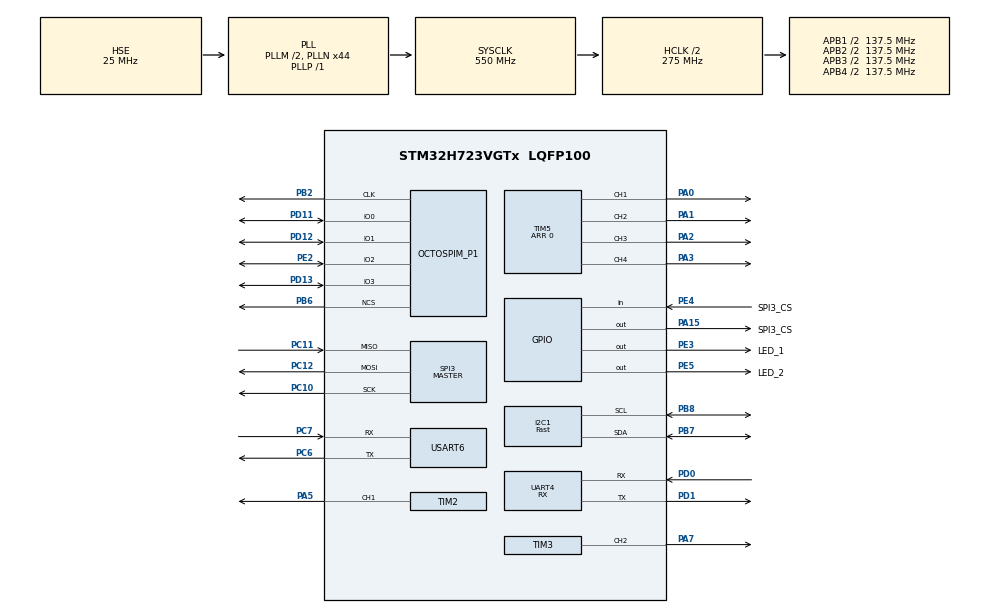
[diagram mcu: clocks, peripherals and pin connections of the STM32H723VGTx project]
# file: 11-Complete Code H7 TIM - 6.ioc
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CORTEX_M7.default_mode_Activation=1
Dma.I2C1_RX.7.Direction=DMA_PERIPH_TO_MEMORY
Dma.I2C1_RX.7.EventEnable=DISABLE
Dma.I2C1_RX.7.FIFOMode=DMA_FIFOMODE_DISABLE
Dma.I2C1_RX.7.Instance=DMA1_Stream7
Dma.I2C1_RX.7.MemDataAlignment=DMA_MDATAALIGN_BYTE
Dma.I2C1_RX.7.MemInc=DMA_MINC_ENABLE
Dma.I2C1_RX.7.Mode=DMA_NORMAL
Dma.I2C1_RX.7.PeriphDataAlignment=DMA_PDATAALIGN_BYTE
Dma.I2C1_RX.7.PeriphInc=DMA_PINC_DISABLE
Dma.I2C1_RX.7.Polarity=HAL_DMAMUX_REQ_GEN_RISING
Dma.I2C1_RX.7.Priority=DMA_PRIORITY_LOW
Dma.I2C1_RX.7.RequestNumber=1
Dma.I2C1_RX.7.SignalID=NONE
Dma.I2C1_RX.7.SyncEnable=DISABLE
Dma.I2C1_RX.7.SyncPolarity=HAL_DMAMUX_SYNC_NO_EVENT
Dma.I2C1_RX.7.SyncRequestNumber=1
Dma.I2C1_RX.7.SyncSignalID=NONE
Dma.I2C1_TX.8.Direction=DMA_MEMORY_TO_PERIPH
Dma.I2C1_TX.8.EventEnable=DISABLE
Dma.I2C1_TX.8.FIFOMode=DMA_FIFOMODE_DISABLE
Dma.I2C1_TX.8.Instance=DMA2_Stream0
Dma.I2C1_TX.8.MemDataAlignment=DMA_MDATAALIGN_BYTE
Dma.I2C1_TX.8.MemInc=DMA_MINC_ENABLE
Dma.I2C1_TX.8.Mode=DMA_NORMAL
Dma.I2C1_TX.8.PeriphDataAlignment=DMA_PDATAALIGN_BYTE
Dma.I2C1_TX.8.PeriphInc=DMA_PINC_DISABLE
Dma.I2C1_TX.8.Polarity=HAL_DMAMUX_REQ_GEN_RISING
Dma.I2C1_TX.8.Priority=DMA_PRIORITY_LOW
Dma.I2C1_TX.8.RequestNumber=1
Dma.I2C1_TX.8.SignalID=NONE
Dma.I2C1_TX.8.SyncEnable=DISABLE
Dma.I2C1_TX.8.SyncPolarity=HAL_DMAMUX_SYNC_NO_EVENT
Dma.I2C1_TX.8.SyncRequestNumber=1
Dma.I2C1_TX.8.SyncSignalID=NONE
Dma.Request0=TIM5_CH1
Dma.Request1=TIM5_CH2
Dma.Request2=TIM5_CH3
Dma.Request3=TIM5_CH4
Dma.Request4=SPI3_RX
Dma.Request5=SPI3_TX
Dma.Request6=TIM3_CH2
Dma.Request7=I2C1_RX
Dma.Request8=I2C1_TX
Dma.SPI3_RX.4.Direction=DMA_PERIPH_TO_MEMORY
Dma.SPI3_RX.4.EventEnable=DISABLE
Dma.SPI3_RX.4.FIFOMode=DMA_FIFOMODE_DISABLE
Dma.SPI3_RX.4.Instance=DMA1_Stream4
Dma.SPI3_RX.4.MemDataAlignment=DMA_MDATAALIGN_BYTE
Dma.SPI3_RX.4.MemInc=DMA_MINC_ENABLE
Dma.SPI3_RX.4.Mode=DMA_NORMAL
Dma.SPI3_RX.4.PeriphDataAlignment=DMA_PDATAALIGN_BYTE
Dma.SPI3_RX.4.PeriphInc=DMA_PINC_DISABLE
Dma.SPI3_RX.4.Polarity=HAL_DMAMUX_REQ_GEN_RISING
Dma.SPI3_RX.4.Priority=DMA_PRIORITY_LOW
Dma.SPI3_RX.4.RequestNumber=1
Dma.SPI3_RX.4.SignalID=NONE
Dma.SPI3_RX.4.SyncEnable=DISABLE
Dma.SPI3_RX.4.SyncPolarity=HAL_DMAMUX_SYNC_NO_EVENT
Dma.SPI3_RX.4.SyncRequestNumber=1
Dma.SPI3_RX.4.SyncSignalID=NONE
Dma.SPI3_TX.5.Direction=DMA_MEMORY_TO_PERIPH
Dma.SPI3_TX.5.EventEnable=DISABLE
Dma.SPI3_TX.5.FIFOMode=DMA_FIFOMODE_DISABLE
Dma.SPI3_TX.5.Instance=DMA1_Stream3
Dma.SPI3_TX.5.MemDataAlignment=DMA_MDATAALIGN_BYTE
Dma.SPI3_TX.5.MemInc=DMA_MINC_ENABLE
Dma.SPI3_TX.5.Mode=DMA_NORMAL
Dma.SPI3_TX.5.PeriphDataAlignment=DMA_PDATAALIGN_BYTE
Dma.SPI3_TX.5.PeriphInc=DMA_PINC_DISABLE
Dma.SPI3_TX.5.Polarity=HAL_DMAMUX_REQ_GEN_RISING
Dma.SPI3_TX.5.Priority=DMA_PRIORITY_LOW
Dma.SPI3_TX.5.RequestNumber=1
Dma.SPI3_TX.5.SignalID=NONE
Dma.SPI3_TX.5.SyncEnable=DISABLE
Dma.SPI3_TX.5.SyncPolarity=HAL_DMAMUX_SYNC_NO_EVENT
Dma.SPI3_TX.5.SyncRequestNumber=1
Dma.SPI3_TX.5.SyncSignalID=NONE
Dma.TIM3_CH2.6.Direction=DMA_MEMORY_TO_PERIPH
Dma.TIM3_CH2.6.EventEnable=DISABLE
Dma.TIM3_CH2.6.FIFOMode=DMA_FIFOMODE_DISABLE
Dma.TIM3_CH2.6.Instance=DMA1_Stream6
Dma.TIM3_CH2.6.MemDataAlignment=DMA_MDATAALIGN_WORD
Dma.TIM3_CH2.6.MemInc=DMA_MINC_ENABLE
Dma.TIM3_CH2.6.Mode=DMA_NORMAL
Dma.TIM3_CH2.6.PeriphDataAlignment=DMA_PDATAALIGN_WORD
Dma.TIM3_CH2.6.PeriphInc=DMA_PINC_DISABLE
Dma.TIM3_CH2.6.Polarity=HAL_DMAMUX_REQ_GEN_RISING
Dma.TIM3_CH2.6.Priority=DMA_PRIORITY_LOW
Dma.TIM3_CH2.6.RequestNumber=1
Dma.TIM3_CH2.6.SignalID=NONE
Dma.TIM3_CH2.6.SyncEnable=DISABLE
Dma.TIM3_CH2.6.SyncPolarity=HAL_DMAMUX_SYNC_NO_EVENT
Dma.TIM3_CH2.6.SyncRequestNumber=1
Dma.TIM3_CH2.6.SyncSignalID=NONE
Dma.TIM5_CH1.0.Direction=DMA_MEMORY_TO_PERIPH
Dma.TIM5_CH1.0.EventEnable=DISABLE
Dma.TIM5_CH1.0.FIFOMode=DMA_FIFOMODE_ENABLE
Dma.TIM5_CH1.0.FIFOThreshold=DMA_FIFO_THRESHOLD_1QUARTERFULL
Dma.TIM5_CH1.0.Instance=DMA1_Stream0
Dma.TIM5_CH1.0.MemBurst=DMA_MBURST_SINGLE
Dma.TIM5_CH1.0.MemDataAlignment=DMA_MDATAALIGN_WORD
Dma.TIM5_CH1.0.MemInc=DMA_MINC_ENABLE
Dma.TIM5_CH1.0.Mode=DMA_NORMAL
Dma.TIM5_CH1.0.PeriphBurst=DMA_PBURST_SINGLE
Dma.TIM5_CH1.0.PeriphDataAlignment=DMA_PDATAALIGN_WORD
Dma.TIM5_CH1.0.PeriphInc=DMA_PINC_DISABLE
Dma.TIM5_CH1.0.Polarity=HAL_DMAMUX_REQ_GEN_RISING
Dma.TIM5_CH1.0.Priority=DMA_PRIORITY_HIGH
Dma.TIM5_CH1.0.RequestNumber=1
Dma.TIM5_CH1.0.SignalID=NONE
Dma.TIM5_CH1.0.SyncEnable=DISABLE
Dma.TIM5_CH1.0.SyncPolarity=HAL_DMAMUX_SYNC_NO_EVENT
Dma.TIM5_CH1.0.SyncRequestNumber=1
Dma.TIM5_CH1.0.SyncSignalID=NONE
Dma.TIM5_CH2.1.Direction=DMA_MEMORY_TO_PERIPH
Dma.TIM5_CH2.1.EventEnable=DISABLE
Dma.TIM5_CH2.1.FIFOMode=DMA_FIFOMODE_ENABLE
Dma.TIM5_CH2.1.FIFOThreshold=DMA_FIFO_THRESHOLD_1QUARTERFULL
Dma.TIM5_CH2.1.Instance=DMA1_Stream1
Dma.TIM5_CH2.1.MemBurst=DMA_MBURST_SINGLE
Dma.TIM5_CH2.1.MemDataAlignment=DMA_MDATAALIGN_WORD
Dma.TIM5_CH2.1.MemInc=DMA_MINC_ENABLE
Dma.TIM5_CH2.1.Mode=DMA_NORMAL
Dma.TIM5_CH2.1.PeriphBurst=DMA_PBURST_SINGLE
Dma.TIM5_CH2.1.PeriphDataAlignment=DMA_PDATAALIGN_WORD
Dma.TIM5_CH2.1.PeriphInc=DMA_PINC_DISABLE
Dma.TIM5_CH2.1.Polarity=HAL_DMAMUX_REQ_GEN_RISING
Dma.TIM5_CH2.1.Priority=DMA_PRIORITY_HIGH
Dma.TIM5_CH2.1.RequestNumber=1
Dma.TIM5_CH2.1.SignalID=NONE
Dma.TIM5_CH2.1.SyncEnable=DISABLE
Dma.TIM5_CH2.1.SyncPolarity=HAL_DMAMUX_SYNC_NO_EVENT
Dma.TIM5_CH2.1.SyncRequestNumber=1
Dma.TIM5_CH2.1.SyncSignalID=NONE
Dma.TIM5_CH3.2.Direction=DMA_MEMORY_TO_PERIPH
Dma.TIM5_CH3.2.EventEnable=DISABLE
Dma.TIM5_CH3.2.FIFOMode=DMA_FIFOMODE_ENABLE
Dma.TIM5_CH3.2.FIFOThreshold=DMA_FIFO_THRESHOLD_1QUARTERFULL
Dma.TIM5_CH3.2.Instance=DMA1_Stream2
Dma.TIM5_CH3.2.MemBurst=DMA_MBURST_SINGLE
Dma.TIM5_CH3.2.MemDataAlignment=DMA_MDATAALIGN_WORD
Dma.TIM5_CH3.2.MemInc=DMA_MINC_ENABLE
Dma.TIM5_CH3.2.Mode=DMA_NORMAL
Dma.TIM5_CH3.2.PeriphBurst=DMA_PBURST_SINGLE
Dma.TIM5_CH3.2.PeriphDataAlignment=DMA_PDATAALIGN_WORD
Dma.TIM5_CH3.2.PeriphInc=DMA_PINC_DISABLE
Dma.TIM5_CH3.2.Polarity=HAL_DMAMUX_REQ_GEN_RISING
Dma.TIM5_CH3.2.Priority=DMA_PRIORITY_HIGH
Dma.TIM5_CH3.2.RequestNumber=1
Dma.TIM5_CH3.2.SignalID=NONE
Dma.TIM5_CH3.2.SyncEnable=DISABLE
Dma.TIM5_CH3.2.SyncPolarity=HAL_DMAMUX_SYNC_NO_EVENT
Dma.TIM5_CH3.2.SyncRequestNumber=1
Dma.TIM5_CH3.2.SyncSignalID=NONE
Dma.TIM5_CH4.3.Direction=DMA_MEMORY_TO_PERIPH
Dma.TIM5_CH4.3.EventEnable=DISABLE
Dma.TIM5_CH4.3.FIFOMode=DMA_FIFOMODE_ENABLE
Dma.TIM5_CH4.3.FIFOThreshold=DMA_FIFO_THRESHOLD_1QUARTERFULL
Dma.TIM5_CH4.3.Instance=DMA1_Stream5
Dma.TIM5_CH4.3.MemBurst=DMA_MBURST_SINGLE
Dma.TIM5_CH4.3.MemDataAlignment=DMA_MDATAALIGN_WORD
Dma.TIM5_CH4.3.MemInc=DMA_MINC_ENABLE
Dma.TIM5_CH4.3.Mode=DMA_NORMAL
Dma.TIM5_CH4.3.PeriphBurst=DMA_PBURST_SINGLE
Dma.TIM5_CH4.3.PeriphDataAlignment=DMA_PDATAALIGN_WORD
Dma.TIM5_CH4.3.PeriphInc=DMA_PINC_DISABLE
Dma.TIM5_CH4.3.Polarity=HAL_DMAMUX_REQ_GEN_RISING
Dma.TIM5_CH4.3.Priority=DMA_PRIORITY_HIGH
Dma.TIM5_CH4.3.RequestNumber=1
Dma.TIM5_CH4.3.SignalID=NONE
Dma.TIM5_CH4.3.SyncEnable=DISABLE
Dma.TIM5_CH4.3.SyncPolarity=HAL_DMAMUX_SYNC_NO_EVENT
Dma.TIM5_CH4.3.SyncRequestNumber=1
Dma.TIM5_CH4.3.SyncSignalID=NONE
I2C1.I2C_Speed_Mode=I2C_Fast
I2C1.Timing=0x00D049FB
Mcu.Family=STM32H7
Mcu.Name=STM32H723VGTx
Mcu.Package=LQFP100
NVIC.DMA1_Stream0_IRQn=true\:0\:0\:false\:false\:true\:false\:true\:true
NVIC.DMA1_Stream1_IRQn=true\:0\:0\:false\:false\:true\:false\:true\:true
NVIC.DMA1_Stream2_IRQn=true\:0\:0\:false\:false\:true\:false\:true\:true
NVIC.DMA1_Stream3_IRQn=true\:0\:0\:false\:false\:true\:false\:true\:true
NVIC.DMA1_Stream4_IRQn=true\:0\:0\:false\:false\:true\:false\:true\:true
NVIC.DMA1_Stream5_IRQn=true\:0\:0\:false\:false\:true\:false\:true\:true
NVIC.DMA1_Stream6_IRQn=true\:0\:0\:false\:false\:true\:false\:true\:true
NVIC.DMA1_Stream7_IRQn=true\:0\:0\:false\:false\:true\:false\:true\:true
NVIC.DMA2_Stream0_IRQn=true\:0\:0\:false\:false\:true\:false\:true\:true
NVIC.PriorityGroup=NVIC_PRIORITYGROUP_4
NVIC.SPI3_IRQn=true\:0\:0\:false\:false\:true\:false\:true\:true
NVIC.TIM5_IRQn=true\:0\:0\:false\:false\:true\:true\:true\:true
NVIC.TIM7_IRQn=true\:0\:0\:false\:false\:true\:true\:true\:true
NVIC.UART4_IRQn=true\:0\:0\:false\:false\:true\:true\:true\:true
NVIC.USART6_IRQn=true\:0\:0\:false\:false\:true\:true\:true\:true
OCTOSPI1.ChipSelectHighTime=2
OCTOSPI1.ClockMode=HAL_OSPI_CLOCK_MODE_3
OCTOSPI1.ClockPrescaler=3-1
OCTOSPI1.DeviceSize=23
OCTOSPI1.SampleShifting=HAL_OSPI_SAMPLE_SHIFTING_HALFCYCLE
PA0.Signal=S_TIM5_CH1
PA1.Signal=S_TIM5_CH2
PA15(JTDI).GPIO_Label=SPI3_CS
PA15(JTDI).Signal=GPIO_Output
PA2.Signal=S_TIM5_CH3
PA3.Signal=S_TIM5_CH4
PA5.Signal=S_TIM2_CH1_ETR
PA7.Signal=S_TIM3_CH2
PB2.Mode=O1_P1_CLK
PB2.Signal=OCTOSPIM_P1_CLK
PB6.Mode=OCTOSPI1_Port1_NCS
PB6.Signal=OCTOSPIM_P1_NCS
PB7.Mode=I2C
PB7.Signal=I2C1_SDA
PB8.Mode=I2C
PB8.Signal=I2C1_SCL
PC10.Mode=Full_Duplex_Master
PC10.Signal=SPI3_SCK
PC11.Mode=Full_Duplex_Master
PC11.Signal=SPI3_MISO
PC12.Mode=Full_Duplex_Master
PC12.Signal=SPI3_MOSI
PC6.Mode=Asynchronous
PC6.Signal=USART6_TX
PC7.Mode=Asynchronous
PC7.Signal=USART6_RX
PD0.Mode=Asynchronous
PD0.Signal=UART4_RX
PD1.Mode=Asynchronous
PD1.Signal=UART4_TX
PD11.Mode=OCTOSPI1_IOL_Port1L
PD11.Signal=OCTOSPIM_P1_IO0
PD12.Mode=OCTOSPI1_IOL_Port1L
PD12.Signal=OCTOSPIM_P1_IO1
PD13.Mode=OCTOSPI1_IOL_Port1L
PD13.Signal=OCTOSPIM_P1_IO3
PE2.Mode=OCTOSPI1_IOL_Port1L
PE2.Signal=OCTOSPIM_P1_IO2
PE3.GPIO_Label=LED_1
PE3.Signal=GPIO_Output
PE4.GPIO_Label=SPI3_CS
PE4.Signal=GPIO_Input
PE5.GPIO_Label=LED_2
PE5.Signal=GPIO_Output
PH0-OSC_IN.Mode=HSE-External-Oscillator
PH0-OSC_IN.Signal=RCC_OSC_IN
PH1-OSC_OUT.Mode=HSE-External-Oscillator
PH1-OSC_OUT.Signal=RCC_OSC_OUT
ProjectManager.HeapSize=0x200
ProjectManager.StackSize=0x400
ProjectManager.TargetToolchain=STM32CubeIDE
RCC.ADCFreq_Value=50390625
RCC.APB1Freq_Value=137500000
RCC.APB2Freq_Value=137500000
RCC.APB3Freq_Value=137500000
RCC.APB4Freq_Value=137500000
RCC.CortexFreq_Value=550000000
RCC.D1PPRE=RCC_APB3_DIV2
RCC.D2PPRE1=RCC_APB1_DIV2
RCC.D2PPRE2=RCC_APB2_DIV2
RCC.D3PPRE=RCC_APB4_DIV2
RCC.DIVM1=2
RCC.DIVN1=44
RCC.DIVP1=1
RCC.DIVQ1=3
RCC.HCLKFreq_Value=275000000
RCC.HPRE=RCC_HCLK_DIV2
RCC.PLL2FRACN=0
RCC.PLL3FRACN=0
RCC.PLLFRACN=0
RCC.PLLSourceVirtual=RCC_PLLSOURCE_HSE
RCC.SYSCLKFreq_VALUE=550000000
RCC.SYSCLKSource=RCC_SYSCLKSOURCE_PLLCLK
RCC.USBFreq_Value=183333333.33333334
SH.S_TIM2_CH1_ETR.0=TIM2_CH1,PWM Generation1 CH1
SH.S_TIM3_CH2.0=TIM3_CH2,PWM Generation2 CH2
SH.S_TIM5_CH1.0=TIM5_CH1,PWM Generation1 CH1
SH.S_TIM5_CH2.0=TIM5_CH2,PWM Generation2 CH2
SH.S_TIM5_CH3.0=TIM5_CH3,PWM Generation3 CH3
SH.S_TIM5_CH4.0=TIM5_CH4,PWM Generation4 CH4
SPI3.BaudRatePrescaler=SPI_BAUDRATEPRESCALER_8
SPI3.CLKPhase=SPI_PHASE_2EDGE
SPI3.CLKPolarity=SPI_POLARITY_HIGH
SPI3.CalculateBaudRate=22.916666 MBits/s
SPI3.DataSize=SPI_DATASIZE_8BIT
SPI3.Direction=SPI_DIRECTION_2LINES
SPI3.Mode=SPI_MODE_MASTER
SPI3.VirtualType=VM_MASTER
TIM2.Channel-PWM\ Generation1\ CH1=TIM_CHANNEL_1
TIM2.Period=249
TIM2.Prescaler=546
TIM2.Pulse-PWM\ Generation1\ CH1=125
TIM3.Channel-PWM\ Generation2\ CH2=TIM_CHANNEL_2
TIM3.Period=343
TIM5.Channel-PWM\ Generation1\ CH1=TIM_CHANNEL_1
TIM5.Channel-PWM\ Generation2\ CH2=TIM_CHANNEL_2
TIM5.Channel-PWM\ Generation3\ CH3=TIM_CHANNEL_3
TIM5.Channel-PWM\ Generation4\ CH4=TIM_CHANNEL_4
TIM5.Period=0
TIM7.AutoReloadPreload=TIM_AUTORELOAD_PRELOAD_ENABLE
TIM7.Period=274
TIM7.Prescaler=999
UART4.Mode=MODE_RX
USART6.VirtualMode=VM_ASYNC
VP_MEMORYMAP_VS_MEMORYMAP.Mode=CurAppReg
VP_OCTOSPI1_VS_octo.Mode=octo_mode
VP_TIM2_VS_ClockSourceINT.Mode=Internal
VP_TIM3_VS_ClockSourceINT.Mode=Internal
VP_TIM5_VS_ClockSourceINT.Mode=Internal
VP_TIM7_VS_ClockSourceINT.Mode=Enable_Timer
board=custom

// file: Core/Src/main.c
/* USER CODE BEGIN Header */
/**
  ******************************************************************************
  * @file           : main.c
  * @brief          : Main program body
  ******************************************************************************
  * @attention
  *
  * Copyright (c) 2025 STMicroelectronics.
  * All rights reserved.
  *
  * This software is licensed under terms that can be found in the LICENSE file
  * in the root directory of this software component.
  * If no LICENSE file comes with this software, it is provided AS-IS.
  *
  ******************************************************************************
  */
/* USER CODE END Header */
#include "main.h"
#include "dma.h"
#include "i2c.h"
#include "octospi.h"
#include "spi.h"
#include "tim.h"
#include "usart.h"
#include "gpio.h"

/* USER CODE BEGIN Includes */
#include "../IMU/ICM42688P/icm42688p.h"
#include "../EEPROM/eeprom.h"
#include "../RECEIVER/FS-iA6B/FS-iA6B.h"
#include "../LED/MAIN_BOARD_RGB/ws2812.h"
#include "../HMC5883L/hmc5883l.h"
#include "../FUSION/COMPLEMENTARY/complementary_filter.h"
#include "../ESC/DShot/dshot.h"
#include "../CMD/cmd.h"
#include <string.h>
#include <stdio.h>
/* USER CODE END Includes */

/* USER CODE BEGIN PTD */

/* *********** USART6 printf function code ************ */
int _write(int file, char* p, int len)
{
    for (int i = 0; i < len; i++) {
        while (!LL_USART_IsActiveFlag_TXE(USART6)) {
            if (LL_USART_IsActiveFlag_ORE(USART6) || LL_USART_IsActiveFlag_FE(USART6)) {
                LL_USART_ClearFlag_ORE(USART6);
                LL_USART_ClearFlag_FE(USART6);
                return -1; // Indicate error
            }
        }
        LL_USART_TransmitData8(USART6, *(p + i));
    }
    while (!LL_USART_IsActiveFlag_TC(USART6)) {}
    return len;
}
/* *********** USART6 printf function code ************ */

/* USER CODE END PTD */

/* USER CODE BEGIN PD */
#define MIN_THROTTLE 240   // Minimum DShot throttle (per protocol)
#define MAX_THROTTLE 2000 // Maximum DShot throttle (per protocol)

float dt = 1.0f/1000;
/* USER CODE END PD */

/* USER CODE BEGIN PM */
unsigned char failsafe_flag = 0;
unsigned char motor_armed = 0; // Track arming state
/* USER CODE END PM */

/* USER CODE BEGIN PV */

extern uint8_t uart6_rx_flag;
extern uint8_t uart6_rx_data;
extern uint8_t uart4_rx_flag;
extern uint8_t uart4_rx_data;
extern uint8_t ibus_rx_buf[32];
extern uint8_t ibus_rx_cplt_flag;
extern uint8_t uart7_rx_data;
uint8_t telemetry_tx_buf[20];

extern uint16_t tim7_1ms_flag;
extern uint16_t tim7_2ms_flag;
extern uint16_t tim7_20ms_flag;
extern uint16_t tim7_50ms_flag;
extern uint16_t tim7_100ms_flag;
extern uint16_t tim7_200ms_flag;
extern uint16_t tim7_1000ms_flag;

float eeprom_pid_read[3];
float eeprom_gyro_read[3];
float eeprom_accel_read[3];
float eeprom_mag_read[3];
DualPID_t eeprom_roll_pid_read;
DualPID_t eeprom_pitch_pid_read;
PID_t eeprom_yaw_rate_pid_read;

AircraftLights_t aircraft_lights;

uint16_t my_motor_value[4] = {0, 0, 0, 0}; // Throttle values for 4 motors
static uint16_t last_dshot_throttle = MIN_THROTTLE; // For throttle smoothing

float roll,pitch,yaw;

Quaternion q;

/* USER CODE END PV */

void SystemClock_Config(void);
static void MPU_Config(void);
/* USER CODE BEGIN PFP */

int Is_iBus_Throttle_Min(void);
int Is_iBus_Throttle_Armed(void);
void ESC_Calibration(void);
int Is_iBus_Received(void);
void check_command_timeout(void);

/* USER CODE END PFP */

/* USER CODE BEGIN 0 */

void HAL_I2C_MemRxCpltCallback(I2C_HandleTypeDef *hi2c) {
    HMC5883L_DMA_Complete_Callback(hi2c);
}

void HAL_I2C_ErrorCallback(I2C_HandleTypeDef *hi2c) {
    printf("I2C Error: %lu\n", hi2c->ErrorCode);
}

/* USER CODE END 0 */

int main(void)
{

  /* USER CODE BEGIN 1 */

	static int16_t gyro_offsets_lsb[3] = {8, 4, -2}; // Initialize to zero

	unsigned char motor_arming_flag = 0;
	unsigned short iBus_SwA_Prev = 0;
	unsigned char iBus_rx_cnt = 0;
	unsigned short ccr1, ccr2, ccr3, ccr4;

  /* USER CODE END 1 */

  /* MPU Configuration--------------------------------------------------------*/
  MPU_Config();

  /* MCU Configuration--------------------------------------------------------*/

  /* Reset of all peripherals, Initializes the Flash interface and the Systick. */
  HAL_Init();

  /* Configure the system clock */
  SystemClock_Config();

  /* Initialize all configured peripherals */
  MX_GPIO_Init();
  MX_DMA_Init();
  MX_TIM5_Init();
  MX_OCTOSPI1_Init();
  MX_USART6_UART_Init();
  MX_TIM7_Init();
  MX_SPI3_Init();
  MX_UART4_Init();
  MX_TIM2_Init();
  MX_TIM3_Init();
  MX_I2C1_Init();
  /* USER CODE BEGIN 2 */

  LL_USART_EnableIT_RXNE(USART6);
//  StartupTone();
  LL_USART_EnableIT_RXNE_RXFNE(UART4);

  /* ======================== EEPROM Code START ======================== */

  if (EEPROM_Init() != W25Qxx_OK) {
	  printf("EEPROM Init Failed\r\n");
	  Error_Handler();
  }

  DroneConfig_t config;
  if (EEPROM_ReadConfig(&config) == W25Qxx_OK) {
	  printf("Config Loaded: Flight Mode %d, PID P: %.2f\r\n",
			  config.flight_mode, config.pid[0]);
  } else {
	  printf("No valid config found, loading defaults\r\n");
	  DroneConfig_t default_config = {
			  .accel_cal = {0.030256f, -0.026638f, -0.122559f},
			  .gyro_cal = {0.016646f, 0.173536f, -0.355303f},
			  .mag_cal = {1.50f, -1.50f, 0.50f},
			  .pid = {1.0f, 0.1f, 0.5f},
			  .flight_mode = 0,
			  .gps_lat = 0.0f,
			  .gps_lon = 0.0f,
			  .gps_alt = 0.0f,
			  .roll_pid = {
					  .out = {0.62f, 0.01f, 0.10f},
					  .in = {0.30f, 0.07f, 0.010f}
			  },
			  .pitch_pid = {
					  .out = {0.62f, 0.01f, 0.10f},
					  .in = {0.30f, 0.07f, 0.010f}
			  },
			  .yaw_rate_pid = {0.2f, 0.01f, 0.003f},
			  .lights = {
					  .rgb = {{255, 0, 0}, {0, 255, 0}, {0, 0, 255}, {255, 255, 255}},
					  .mode = 0
			  },
			  .crc = 0
	  };
	  default_config.crc = CalculateCRC32((uint8_t*)&default_config, sizeof(DroneConfig_t) - sizeof(uint32_t));
	  if (EEPROM_WriteConfig(&default_config) != W25Qxx_OK) {
		  printf("Failed to write default config\r\n");
		  Error_Handler();
	  }
	  printf("Default config written and verified\r\n");
  }

  if (EEPROM_GetPID(eeprom_pid_read) == W25Qxx_OK) {
	  printf("EEPROM PID read: P=%.2f, I=%.2f, D=%.2f\r\n",
			  eeprom_pid_read[0], eeprom_pid_read[1], eeprom_pid_read[2]);
  } else {
	  printf("Failed to read PID\r\n");
  }

  if (EEPROM_GetGyroCalibration(eeprom_gyro_read) == W25Qxx_OK) {
	  printf("EEPROM Gyro read: X=%.2f, Y=%.2f, Z=%.2f\r\n",
			  eeprom_gyro_read[0], eeprom_gyro_read[1], eeprom_gyro_read[2]);
  } else {
	  printf("Failed to read EEPROM Gyro Data\r\n");
  }

  if (EEPROM_GetAccelCalibration(eeprom_accel_read) == W25Qxx_OK) {
	  printf("EEPROM Accel read: X=%.2f, Y=%.2f, Z=%.2f\r\n",
			  eeprom_accel_read[0], eeprom_accel_read[1], eeprom_accel_read[2]);
  } else {
	  printf("Failed to read EEPROM Accel Data\r\n");
  }

  if (EEPROM_GetMagCalibration(eeprom_mag_read) == W25Qxx_OK) {
	  printf("EEPROM Mag read: X=%.2f, Y=%.2f, Z=%.2f\r\n",
			  eeprom_mag_read[0], eeprom_mag_read[1], eeprom_mag_read[2]);
  } else {
	  printf("Failed to read EEPROM Mag Data\r\n");
  }

  if (EEPROM_GetRollPID(&eeprom_roll_pid_read) == W25Qxx_OK) {
	  printf("Roll PID: Out P=%.3f, I=%.3f, D=%.3f, In P=%.3f, I=%.3f, D=%.3f\r\n",
			  eeprom_roll_pid_read.out.kp, eeprom_roll_pid_read.out.ki, eeprom_roll_pid_read.out.kd,
			  eeprom_roll_pid_read.in.kp, eeprom_roll_pid_read.in.ki, eeprom_roll_pid_read.in.kd);
  } else {
	  printf("Failed to read Roll PID\r\n");
  }

  if (EEPROM_GetPitchPID(&eeprom_pitch_pid_read) == W25Qxx_OK) {
	  printf("Pitch PID: Out P=%.3f, I=%.3f, D=%.3f, In P=%.3f, I=%.3f, D=%.3f\r\n",
			  eeprom_pitch_pid_read.out.kp, eeprom_pitch_pid_read.out.ki, eeprom_pitch_pid_read.out.kd,
			  eeprom_pitch_pid_read.in.kp, eeprom_pitch_pid_read.in.ki, eeprom_pitch_pid_read.in.kd);
  } else {
	  printf("Failed to read Pitch PID\r\n");
  }

  if (EEPROM_GetYawRatePID(&eeprom_yaw_rate_pid_read) == W25Qxx_OK) {
	  printf("Yaw Rate PID: P=%.3f, I=%.3f, D=%.3f\r\n",
			  eeprom_yaw_rate_pid_read.kp, eeprom_yaw_rate_pid_read.ki, eeprom_yaw_rate_pid_read.kd);
  } else {
	  printf("Failed to read Yaw Rate PID\r\n");
  }

  if (EEPROM_GetAircraftLights(&aircraft_lights) == W25Qxx_OK) {
	  printf("Lights: LED1(R=%d,G=%d,B=%d), LED2(R=%d,G=%d,B=%d), LED3(R=%d,G=%d,B=%d), LED4(R=%d,G=%d,B=%d), Mode=%d\r\n",
			  aircraft_lights.rgb[0][0], aircraft_lights.rgb[0][1], aircraft_lights.rgb[0][2],
			  aircraft_lights.rgb[1][0], aircraft_lights.rgb[1][1], aircraft_lights.rgb[1][2],
			  aircraft_lights.rgb[2][0], aircraft_lights.rgb[2][1], aircraft_lights.rgb[2][2],
			  aircraft_lights.rgb[3][0], aircraft_lights.rgb[3][1], aircraft_lights.rgb[3][2],
			  aircraft_lights.mode);
  } else {
	  printf("Failed to read Aircraft Lights\r\n");
  }

  /* ********************************* EEPROM Code END ********************************* */

  // Initialize PID gains
  //          roll_pid.out.kp = eeprom_roll_pid_read.out.kp;
  //          roll_pid.out.ki = eeprom_roll_pid_read.out.ki;
  //          roll_pid.out.kd = eeprom_roll_pid_read.out.kd;
  //          roll_pid.in.kp = eeprom_roll_pid_read.in.kp;
  //          roll_pid.in.ki = eeprom_roll_pid_read.in.ki;
  //          roll_pid.in.kd = eeprom_roll_pid_read.in.kd;
  //
  //          pitch_pid.out.kp = eeprom_pitch_pid_read.out.kp;
  //          pitch_pid.out.ki = eeprom_pitch_pid_read.out.ki;
  //          pitch_pid.out.kd = eeprom_pitch_pid_read.out.kd;
  //          pitch_pid.in.kp = eeprom_pitch_pid_read.in.kp;
  //          pitch_pid.in.ki = eeprom_pitch_pid_read.in.ki;
  //          pitch_pid.in.kd = eeprom_pitch_pid_read.in.kd;
  //
  //          yaw_rate_pid.kp = eeprom_yaw_rate_pid_read.kp;
  //          yaw_rate_pid.ki = eeprom_yaw_rate_pid_read.ki;
  //          yaw_rate_pid.kd = eeprom_yaw_rate_pid_read.kd;

  printf("\n");

  /* *********** iBus Calibration Check ************ */

  while (Is_iBus_Received() == 0) {
	  Buzzer_On(3000);
	  HAL_Delay(200);
	  Buzzer_Off();
	  HAL_Delay(200);
  }
  if (iBus.SwC == 2000) {
	  Buzzer_On(1500);
	  HAL_Delay(200);
	  Buzzer_On(2000);
	  HAL_Delay(200);
	  Buzzer_On(1500);
	  HAL_Delay(200);
	  Buzzer_On(2000);
	  HAL_Delay(200);
	  Buzzer_Off();
	  ESC_Calibration();
	  while (iBus.SwC != 1000) {
		  Is_iBus_Received();
		  Buzzer_On(1500);
		  HAL_Delay(200);
		  Buzzer_On(2000);
		  HAL_Delay(200);
		  Buzzer_Off();
	  }
  }

  /* *********** iBus Calibration Check END ************ */

  /* *********** iBus Throttle Check ************ */

  while (Is_iBus_Throttle_Min() == 0 || iBus.SwA == 2000) {
	  Buzzer_On(343);
	  HAL_Delay(70);
	  Buzzer_Off();
	  HAL_Delay(70);
  }

  /* *********** iBus Throttle Check END ************ */

  /* *********** ESC Startup START ************ */

  __HAL_TIM_DISABLE(&htim5); // Reset timers
  HAL_Delay(10);
  dshot_init(DSHOT600);
  main_led(0, 255, 0, 0, 1);

  // Arming sequence: Send 0 for 3 seconds
  for (uint32_t i = 0; i < 3000; i++) {
	  dshot_write(my_motor_value);
	  HAL_Delay(1);
  }

  my_motor_value[0] = 0; // Motor 1
  my_motor_value[1] = 0; // Motor 2
  my_motor_value[2] = 0; // Motor 3
  my_motor_value[3] = 0; // Motor 4

  main_led(0, 100, 0, 155, 1);

  /* *********** ESC Startup END ************ */

  LL_TIM_EnableCounter(TIM7);
  LL_TIM_EnableIT_UPDATE(TIM7);

  if(ICM42688P_Initialization() == 0)
  {
	  printf("=== Sensor Ready ===\n\n");

	  //	  ===================  Gyro Offset Calibration  ==================

	  //  int result = ICM42688P_CalibrateGyroRawOffsets(2000, gyro_offsets_lsb);
	  //  if (result == 0) {
	  //	  printf("Calibration complete: Gx=%d, Gy=%d, Gz=%d LSB\n",
	  //			  gyro_offsets_lsb[0], gyro_offsets_lsb[1], gyro_offsets_lsb[2]);
	  //  }

	  //	  =================  Gyro Offset Calibration END  =================

  }

  HMC5883L_Init();
  uint8_t hmc_id = HMC5883L_ReadReg(HMC5883L_ID_A);
  printf("HMC5883L ID: %c\n", hmc_id);
  printf("\n");

//  ICM42688P_WriteByte(0x13, (gyro_x_offset*-2)>>8);
//  ICM42688P_WriteByte(0x14, (gyro_x_offset*-2));
//
//  ICM42688P_WriteByte(0x15, (gyro_y_offset*-2)>>8);
//  ICM42688P_WriteByte(0x16, (gyro_y_offset*-2));
//
//  ICM42688P_WriteByte(0x17, (gyro_z_offset*-2)>>8);
//  ICM42688P_WriteByte(0x18, (gyro_z_offset*-2));

  main_led(0, 0, 0, 255, 1);
  HAL_Delay(500);
  main_led(0, 0, 0, 255, 0);
  HAL_Delay(500);
  main_led(0, 0, 0, 255, 1);
  HAL_Delay(500);
  main_led(0, 0, 0, 255, 0);
  HAL_Delay(500);
  main_led(0, 0, 255, 0, 1);
  HAL_Delay(500);
  main_led(0, 0, 255, 0, 0);
  HAL_Delay(500);

  main_led(0, 0, 255, 0, 0.1);

  while (Is_iBus_Throttle_Armed() == 0) {
	  // Debug: Print loop status
	  static uint32_t last_loop_print = 0;
	  if ((HAL_GetTick() - last_loop_print) >= 1000) {
		  last_loop_print = HAL_GetTick();
	  }

	  //	  calibration_task(); // Always call calibration_task
	  dshot_write(my_motor_value);
	  if (is_cmd_mode()) {
		  dshot_write(my_motor_value);
		  continue; // Skip all other tasks in command mode
	  }

	  if (tim7_20ms_flag == 1 && tim7_100ms_flag != 1) {
		  tim7_20ms_flag = 0;
		  check_command_timeout();
	  }

  }

//  /* *********** iBus Throttle Check ************ */

//  while(Is_iBus_Throttle_Min() == 0 || iBus.SwA != 2000)
//  {
//	  Buzzer_On(1200);
//	  HAL_Delay(300);
//	  Buzzer_Off();
//	  HAL_Delay(70);
//  }
//  // Uncomment only when iBus Receiver is connected
//  Buzzer_On(1092);
//  HAL_Delay(100);
//  Buzzer_On(592);
//  HAL_Delay(100);
//  Buzzer_On(292);
//  HAL_Delay(100);
//  Buzzer_Off();

  /* USER CODE END 2 */

  /* Infinite loop */
  while (1)
  {

    /* USER CODE BEGIN 3 */

	  if(tim7_1ms_flag == 1)
	  {
		  tim7_1ms_flag = 0;

//		  pitch_reference = (iBus.RV - 1500) * 0.1f;
//		  pitch_error = pitch_reference -

		  ccr1 = 240 + (((iBus.LV - 1000)*10 + (iBus.RV - 1500)*5 + (iBus.RH - 1500)*5 + (iBus.LH - 1500)*5 ) * 0.176); // back left
		  ccr2 = 240 + (((iBus.LV - 1000)*10 - (iBus.RV - 1500)*5 + (iBus.RH - 1500)*5 - (iBus.LH - 1500)*5 ) * 0.176); // front left
		  ccr3 = 240 + (((iBus.LV - 1000)*10 + (iBus.RV - 1500)*5 - (iBus.RH - 1500)*5 - (iBus.LH - 1500)*5 ) * 0.176); // back right
		  ccr4 = 240 + (((iBus.LV - 1000)*10 - (iBus.RV - 1500)*5 - (iBus.RH - 1500)*5 + (iBus.LH - 1500)*5 ) * 0.176); // front right

	  }

	  if(tim7_2ms_flag == 1)
	  {
		  tim7_2ms_flag = 0;

//		  printf("%d, %d, %d\n",
//				  (int)(ICM42688P.gyro_x), (int)(ICM42688P.gyro_y), (int)(ICM42688P.gyro_z));
//		  printf("%d\t%d\t%d\t%d\t\n", my_motor_value[2], my_motor_value[3], my_motor_value[1], my_motor_value[0]);

	  }

	  if(iBus.SwA == 2000 && iBus_SwA_Prev != 2000)
	  {
		  if(iBus.LV < 1010)
		  {
			  motor_arming_flag = 1;
		  }
		  else{
			  while(Is_iBus_Throttle_Min() == 0 || iBus.SwA == 2000)
			  {
				  Buzzer_On(1200);
				  HAL_Delay(300);
				  Buzzer_Off();
				  HAL_Delay(70);
			  }
		  }
	  }

	  iBus_SwA_Prev = iBus.SwA;

	  if(iBus.SwA != 2000)
	  {
		  motor_arming_flag = 0;
	  }

	  if(motor_arming_flag == 1)
	  {
		  if(failsafe_flag == 0)
		  {
			  my_motor_value[2] = ccr1 > 2000 ? 2000 : ccr1 < 240 ? 240 : ccr1;
			  my_motor_value[3] = ccr2 > 2000 ? 2000 : ccr2 < 240 ? 240 : ccr2;
			  my_motor_value[1] = ccr3 > 2000 ? 2000 : ccr3 < 240 ? 240 : ccr3;
			  my_motor_value[0] = ccr4 > 2000 ? 2000 : ccr4 < 240 ? 240 : ccr4;
			  dshot_write(my_motor_value);
//			  printf("%d\t%d\t%d\t%d\t%d\t%d\t%d\t%d\t%d\t%d\t\n",
//					  iBus.RH, iBus.RV, iBus.LV, iBus.LH, iBus.SwA, iBus.SwB, iBus.SwC, iBus.SwD, iBus.VrA, iBus.VrB);
		  }
		  else
		  {
			  my_motor_value[2] = 0;
			  my_motor_value[3] = 0;
			  my_motor_value[1] = 0;
			  my_motor_value[0] = 0;
			  dshot_write(my_motor_value);
		  }
	  }
	  else
	  {
		  my_motor_value[2] = 0;
		  my_motor_value[3] = 0;
		  my_motor_value[1] = 0;
		  my_motor_value[0] = 0;
		  dshot_write(my_motor_value);
	  }

	  if(ibus_rx_cplt_flag == 1)
	  {
		  ibus_rx_cplt_flag = 0;
		  if(iBus_Check_CHKSUM(&ibus_rx_buf[0], 32) == 1)
		  {

			  iBus_Parsing(&ibus_rx_buf[0], &iBus);
			  iBus_rx_cnt++;

			  if(iBus_isActiveFailsafe(&iBus) == 1)
			  {
				  failsafe_flag = 1;
			  }
			  else
			  {
				  failsafe_flag = 0;
			  }
			  //			  printf("%d\t%d\t%d\t%d\t%d\t%d\n",
			  //					  iBus.RH, iBus.RV, iBus.LV, iBus.LH, iBus.SwA, iBus.SwC);
			  //			  HAL_Delay(100);
		  }
	  }

	  if(tim7_1000ms_flag == 1)
	  {
		  tim7_1000ms_flag = 0;

		  if(iBus_rx_cnt == 0)
		  {
			  failsafe_flag = 2;
		  }
		  iBus_rx_cnt = 0;
	  }

	  if(ICM42688P_DataReady() == 1)
	  {

		  HAL_GPIO_TogglePin(GPIOE, GPIO_PIN_3);

		  ICM42688P_Get6AxisRawData(&ICM42688P.acc_x_raw, &ICM42688P.gyro_x_raw);

		  // Apply gyro offsets in software (subtract offsets from raw data)
		  int16_t gyro_x_corrected = ICM42688P.gyro_x_raw + gyro_offsets_lsb[0];	//  8
		  int16_t gyro_y_corrected = ICM42688P.gyro_y_raw + gyro_offsets_lsb[1];	//  4
		  int16_t gyro_z_corrected = ICM42688P.gyro_z_raw + gyro_offsets_lsb[2];	// -2

		  ICM42688P.gyro_x = gyro_x_corrected * 2000.f / 32768.f;
		  ICM42688P.gyro_y = gyro_y_corrected * 2000.f / 32768.f;
		  ICM42688P.gyro_z = gyro_z_corrected * 2000.f / 32768.f;

		  ICM42688P.acc_x = ICM42688P.acc_x_raw * 0.0004883f;
		  ICM42688P.acc_y = ICM42688P.acc_y_raw * 0.0004883f;
		  ICM42688P.acc_z = ICM42688P.acc_z_raw * 0.0004883f;

		  ComplementaryFilter_Update(&q, ICM42688P.gyro_x, ICM42688P.gyro_y, ICM42688P.gyro_z,
				  ICM42688P.acc_x, ICM42688P.acc_y, ICM42688P.acc_z, dt);

		  Quaternion_ToEuler(&q, &roll, &pitch);

		  printf("Pitch: %.4f\r\n", pitch);

		  roll *= 180.0f/M_PI;
		  pitch *= 180.0f/M_PI;

//		  printf("%.4f\r\n", ICM42688P.gyro_x);

		  //		  printf("%d, %d, %d, %d, %d, %d\n",
		  //				  (int)(ICM42688P.gyro_x*100), (int)(ICM42688P.gyro_y*100), (int)(ICM42688P.gyro_z*100),
		  //				  (int)(ICM42688P.acc_x), (int)(ICM42688P.acc_x), (int)(ICM42688P.acc_x));

//		  printf("%d, %d, %d\n",
//				  (int)(ICM42688P.gyro_x), (int)(ICM42688P.gyro_y), (int)(ICM42688P.gyro_z));

		  //		  printf("%d, %d, %d\n", gyro_x_corrected, gyro_y_corrected, gyro_z_corrected);

	  }

  }
  /* USER CODE END 3 */
}

void SystemClock_Config(void)
{
  RCC_OscInitTypeDef RCC_OscInitStruct = {0};
  RCC_ClkInitTypeDef RCC_ClkInitStruct = {0};

  /** Supply configuration update enable
  */
  HAL_PWREx_ConfigSupply(PWR_LDO_SUPPLY);

  /** Configure the main internal regulator output voltage
  */
  __HAL_PWR_VOLTAGESCALING_CONFIG(PWR_REGULATOR_VOLTAGE_SCALE0);

  while(!__HAL_PWR_GET_FLAG(PWR_FLAG_VOSRDY)) {}

  /** Initializes the RCC Oscillators according to the specified parameters
  * in the RCC_OscInitTypeDef structure.
  */
  RCC_OscInitStruct.OscillatorType = RCC_OSCILLATORTYPE_HSE;
  RCC_OscInitStruct.HSEState = RCC_HSE_ON;
  RCC_OscInitStruct.PLL.PLLState = RCC_PLL_ON;
  RCC_OscInitStruct.PLL.PLLSource = RCC_PLLSOURCE_HSE;
  RCC_OscInitStruct.PLL.PLLM = 2;
  RCC_OscInitStruct.PLL.PLLN = 44;
  RCC_OscInitStruct.PLL.PLLP = 1;
  RCC_OscInitStruct.PLL.PLLQ = 3;
  RCC_OscInitStruct.PLL.PLLR = 2;
  RCC_OscInitStruct.PLL.PLLRGE = RCC_PLL1VCIRANGE_3;
  RCC_OscInitStruct.PLL.PLLVCOSEL = RCC_PLL1VCOWIDE;
  RCC_OscInitStruct.PLL.PLLFRACN = 0;
  if (HAL_RCC_OscConfig(&RCC_OscInitStruct) != HAL_OK)
  {
    Error_Handler();
  }

  /** Initializes the CPU, AHB and APB buses clocks
  */
  RCC_ClkInitStruct.ClockType = RCC_CLOCKTYPE_HCLK|RCC_CLOCKTYPE_SYSCLK
                              |RCC_CLOCKTYPE_PCLK1|RCC_CLOCKTYPE_PCLK2
                              |RCC_CLOCKTYPE_D3PCLK1|RCC_CLOCKTYPE_D1PCLK1;
  RCC_ClkInitStruct.SYSCLKSource = RCC_SYSCLKSOURCE_PLLCLK;
  RCC_ClkInitStruct.SYSCLKDivider = RCC_SYSCLK_DIV1;
  RCC_ClkInitStruct.AHBCLKDivider = RCC_HCLK_DIV2;
  RCC_ClkInitStruct.APB3CLKDivider = RCC_APB3_DIV2;
  RCC_ClkInitStruct.APB1CLKDivider = RCC_APB1_DIV2;
  RCC_ClkInitStruct.APB2CLKDivider = RCC_APB2_DIV2;
  RCC_ClkInitStruct.APB4CLKDivider = RCC_APB4_DIV2;

  if (HAL_RCC_ClockConfig(&RCC_ClkInitStruct, FLASH_LATENCY_3) != HAL_OK)
  {
    Error_Handler();
  }
}

/* USER CODE BEGIN 4 */

int Is_iBus_Throttle_Min(void){
	if(ibus_rx_cplt_flag == 1){
		ibus_rx_cplt_flag = 0;
		if(iBus_Check_CHKSUM(&ibus_rx_buf[0], 32) == 1)
		{
			iBus_Parsing(&ibus_rx_buf[0], &iBus);
			if(iBus.LV < 1010) return 1;
		}
	}
	return 0;
}

int Is_iBus_Throttle_Armed(void){
	if(ibus_rx_cplt_flag == 1){
		ibus_rx_cplt_flag = 0;
		if(iBus_Check_CHKSUM(&ibus_rx_buf[0], 32) == 1){
			iBus_Parsing(&ibus_rx_buf[0], &iBus);
			if(iBus.SwA >= 1900)  // HIGH = armed
				return 1;
		}
	}
	return 0;
}

void ESC_Calibration(void){

	   TIM5->CCR1 = 2000;
	   TIM5->CCR2 = 2000;
	   TIM5->CCR3 = 2000;
	   TIM5->CCR4 = 2000;

	   main_led(0, 255, 0, 0, 0.1);

	   HAL_Delay(7000);

	   TIM5->CCR1 = 1000;
	   TIM5->CCR2 = 1000;
	   TIM5->CCR3 = 1000;
	   TIM5->CCR4 = 1000;

	   main_led(0, 0, 0, 255, 0.1);

	   HAL_Delay(8000);

	   main_led(0, 0, 0, 255, 0);
}

int Is_iBus_Received(void){
	if(ibus_rx_cplt_flag == 1){
		ibus_rx_cplt_flag = 0;
		if(iBus_Check_CHKSUM(&ibus_rx_buf[0], 32) == 1)
		{
			iBus_Parsing(&ibus_rx_buf[0], &iBus);
			return 1;
		}
	}
	return 0;
}

void check_command_timeout(void) {
	if (cmd_receiving && !is_cmd_mode()) { // Only in normal mode
		if ((HAL_GetTick() - last_char_time) > CMD_TIMEOUT_MS) {
			cmd_receiving = 0;
			cmd_index = 0;
			printf("Main: Command timeout at %lu ms\n", HAL_GetTick());
			WS2812_Update();
		}
	}
}
/* USER CODE END 4 */

 /* MPU Configuration */

void MPU_Config(void)
{
  MPU_Region_InitTypeDef MPU_InitStruct = {0};

  /* Disables the MPU */
  HAL_MPU_Disable();

  /** Initializes and configures the Region and the memory to be protected
  */
  MPU_InitStruct.Enable = MPU_REGION_ENABLE;
  MPU_InitStruct.Number = MPU_REGION_NUMBER0;
  MPU_InitStruct.BaseAddress = 0x0;
  MPU_InitStruct.Size = MPU_REGION_SIZE_4GB;
  MPU_InitStruct.SubRegionDisable = 0x87;
  MPU_InitStruct.TypeExtField = MPU_TEX_LEVEL0;
  MPU_InitStruct.AccessPermission = MPU_REGION_NO_ACCESS;
  MPU_InitStruct.DisableExec = MPU_INSTRUCTION_ACCESS_DISABLE;
  MPU_InitStruct.IsShareable = MPU_ACCESS_SHAREABLE;
  MPU_InitStruct.IsCacheable = MPU_ACCESS_NOT_CACHEABLE;
  MPU_InitStruct.IsBufferable = MPU_ACCESS_NOT_BUFFERABLE;

  HAL_MPU_ConfigRegion(&MPU_InitStruct);
  /* Enables the MPU */
  HAL_MPU_Enable(MPU_PRIVILEGED_DEFAULT);

}

void Error_Handler(void)
{
  __disable_irq();
  while (1)
  {
  }
}
